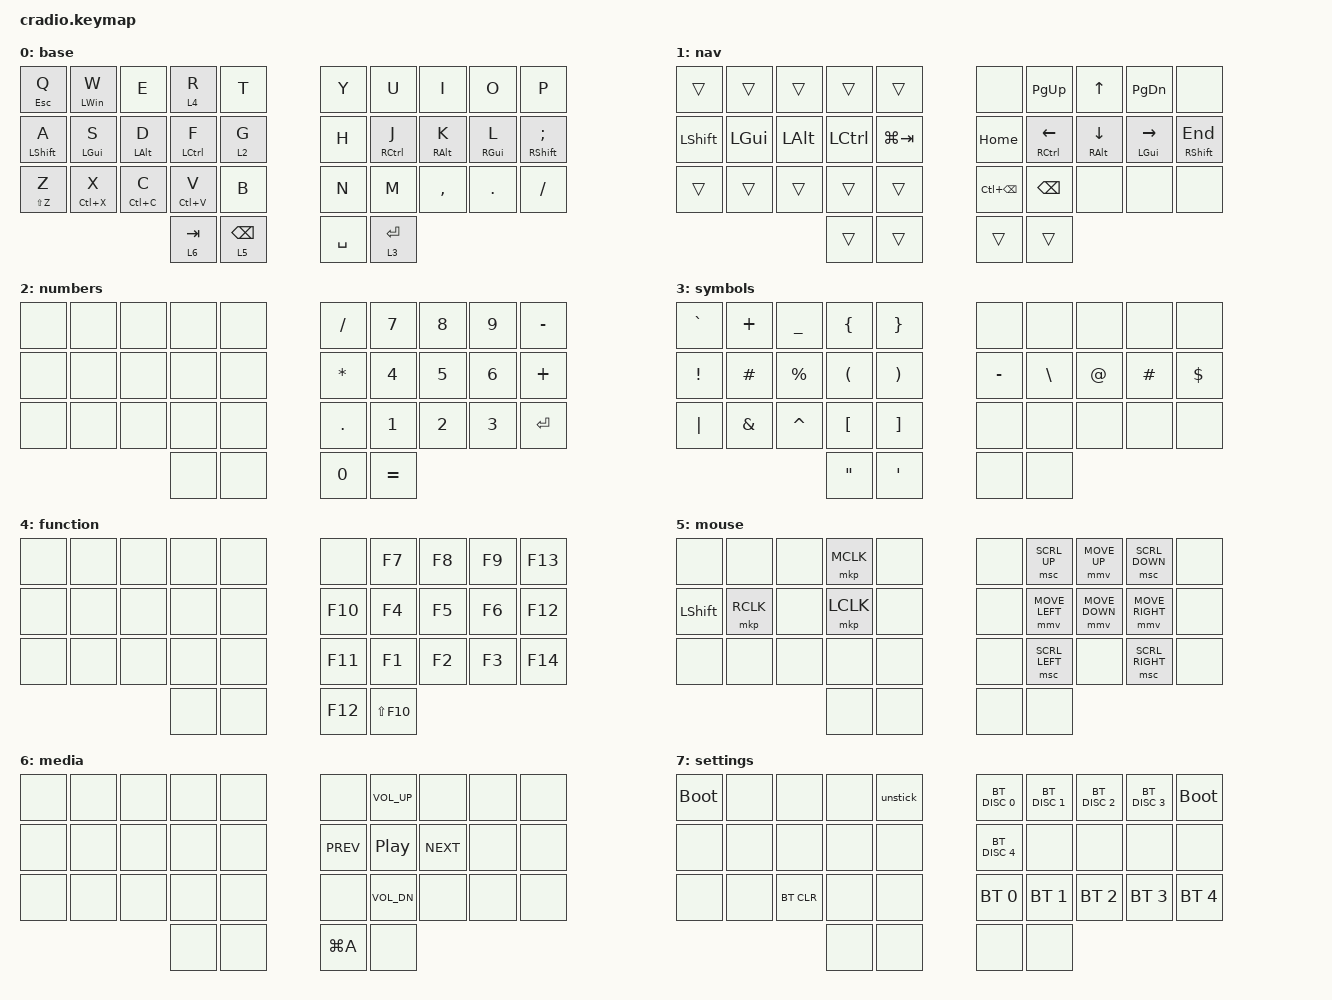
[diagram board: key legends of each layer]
/*
 * Copyright (c) 2020 The ZMK Contributors
 *
 * SPDX-License-Identifier: MIT
 */

#define ZMK_POINTING_DEFAULT_MOVE_VAL 1800  // default: 600
#define ZMK_POINTING_DEFAULT_SCRL_VAL 35    // default: 10

#include <behaviors.dtsi>
#include <dt-bindings/zmk/bt.h>
#include <dt-bindings/zmk/keys.h>
#include <dt-bindings/zmk/pointing.h>

// -----------------

&mt {
    //  flavor = "tap-preferred";
    // tapping_term_ms = <200>;
};

&lt { require-prior-idle-ms = <120>; };

/ {
    macros {
        // sometimes my device thinks a modifier is being held down
        // pressing all modifiers fixes it.

        unstick: unstick {
            label = "ZM_unstick";
            compatible = "zmk,behavior-macro";
            #binding-cells = <0>;
            bindings = <&kp LSHIFT &kp RSHIFT &kp LCTRL &kp RCTRL &kp LALT &kp RALT &kp LGUI &kp RGUI>;
        };

        alt_tab: alt_tab {
            compatible = "zmk,behavior-macro";
            #binding-cells = <0>;
            bindings = <&kp LEFT_ALT &kp TAB>;
            label = "ALT_TAB";
        };

        win_tab: win_tab {
            compatible = "zmk,behavior-macro";
            #binding-cells = <0>;
            bindings = <&kp LGUI &kp TAB>;
            label = "WIN_TAB";
        };
    };

    combos {
        compatible = "zmk,combos";

        // both right thumb keys
        // internal-left & external-right thumb keys

        escape {
            timeout-ms = <200>;
            key-positions = <33 30>;
            bindings = <&kp ESCAPE>;
        };

        // both left thumb keys

        combo_settings {
            timeout-ms = <300>;
            key-positions = <30 31>;
            bindings = <&mo 7>;
        };

        homeLayer {
            bindings = <&to 0>;
            key-positions = <16 13>;
            timeout-ms = <200>;
        };

        navLayer {
            bindings = <&to 1>;
            key-positions = <31 32>;
            timeout-ms = <200>;
        };

        quick_del {
            bindings = <&kp DEL>;
            key-positions = <13 31>;
        };
    };

    behaviors {
        longPress: longPress {
            compatible = "zmk,behavior-hold-tap";
            label = "LONGPRESS";
            bindings = <&kp>, <&kp>;

            #binding-cells = <2>;
            flavor = "tap-preferred";
            tapping-term-ms = <360>;
        };

        HMR: HMR {
            compatible = "zmk,behavior-hold-tap";
            label = "HMR";
            bindings = <&kp>, <&kp>;

            #binding-cells = <2>;
            flavor = "tap-preferred";
            tapping-term-ms = <180>;
            hold-trigger-key-positions = <0 1 2 11 12 0 1 2 3 4 10 11 12 13 14 20 21 22 23 24 30 31>;
            require-prior-idle-ms = <120>;
        };

        HML: HML {
            compatible = "zmk,behavior-hold-tap";
            label = "HML";
            bindings = <&kp>, <&kp>;

            #binding-cells = <2>;
            flavor = "tap-preferred";
            tapping-term-ms = <180>;
            hold-trigger-key-positions = <5 6 7 8 9 15 16 17 18 19 25 26 27 28 29 32 33>;
            require-prior-idle-ms = <120>;
        };
    };

    keymap {
        compatible = "zmk,keymap";

        // Base alpha layer

        base {
            bindings = <
&longPress ESCAPE Q  &longPress LEFT_WIN W  &kp E               &lt 4 R             &kp T              &kp Y      &kp U         &kp I             &kp O             &kp P
&HML LSHFT A         &HML LEFT_GUI S        &HML LEFT_ALT D     &HML LCTRL F        &lt 2 G            &kp H      &HMR RCTRL J  &HMR RIGHT_ALT K  &HMR RIGHT_GUI L  &HMR RIGHT_SHIFT SEMI
&longPress LS(Z) Z   &longPress LC(X) X     &longPress LC(C) C  &longPress LC(V) V  &kp B              &kp N      &kp M         &kp COMMA         &kp DOT           &kp SLASH
                                                                &lt 6 TAB           &lt 5 BACKSPACE    &kp SPACE  &lt 3 ENTER
            >;
        };

        nav {
            bindings = <
&trans     &trans    &trans    &trans     &trans         &none         &kp PG_UP              &kp UP_ARROW               &kp PG_DN        &none
&kp LSHFT  &kp LGUI  &kp LALT  &kp LCTRL  &kp LG(TAB)    &kp HOME      &HMR RCTRL LEFT_ARROW  &HMR RIGHT_ALT DOWN_ARROW  &HMR LGUI RIGHT  &HMR RIGHT_SHIFT END
&trans     &trans    &trans    &trans     &trans         &kp LC(BSPC)  &kp BSPC               &none                      &none            &none
                               &trans     &trans         &trans        &trans
            >;
        };

        numbers {
            bindings = <
&none  &none  &none  &none  &none    &kp SLASH     &kp NUMBER_7  &kp NUMBER_8  &kp NUMBER_9  &kp MINUS
&none  &none  &none  &none  &none    &kp ASTERISK  &kp NUMBER_4  &kp NUMBER_5  &kp NUMBER_6  &kp PLUS
&none  &none  &none  &none  &none    &kp PERIOD    &kp NUMBER_1  &kp NUMBER_2  &kp NUMBER_3  &kp ENTER
                     &none  &none    &kp NUMBER_0  &kp EQUAL
            >;
        };

        symbols {
            bindings = <
&kp GRAVE  &kp PLUS       &kp UNDER    &kp LBRC              &kp RIGHT_BRACE          &none      &none          &none        &none     &none
&kp EXCL   &kp POUND      &kp PERCENT  &kp LEFT_PARENTHESIS  &kp RIGHT_PARENTHESIS    &kp MINUS  &kp BACKSLASH  &kp AT_SIGN  &kp HASH  &kp DOLLAR
&kp PIPE   &kp AMPERSAND  &kp CARET    &kp LEFT_BRACKET      &kp RIGHT_BRACKET        &none      &none          &none        &none     &none
                                       &kp DOUBLE_QUOTES     &kp SINGLE_QUOTE         &none      &none
            >;
        };

        function {
            bindings = <
&none  &none  &none  &none  &none    &none    &kp F7       &kp F8  &kp F9  &kp F13
&none  &none  &none  &none  &none    &kp F10  &kp F4       &kp F5  &kp F6  &kp F12
&none  &none  &none  &none  &none    &kp F11  &kp F1       &kp F2  &kp F3  &kp F14
                     &none  &none    &kp F12  &kp LS(F10)
            >;
        };

        mouse {
            bindings = <
&none           &none      &none  &mkp MCLK  &none    &none  &msc SCRL_UP    &mmv MOVE_UP    &msc SCRL_DOWN   &none
&kp LEFT_SHIFT  &mkp RCLK  &none  &mkp LCLK  &none    &none  &mmv MOVE_LEFT  &mmv MOVE_DOWN  &mmv MOVE_RIGHT  &none
&none           &none      &none  &none      &none    &none  &msc SCRL_LEFT  &none           &msc SCRL_RIGHT  &none
                                  &none      &none    &none  &none
            >;
        };

        media {
            bindings = <
&none  &none  &none  &none  &none    &none       &kp C_VOLUME_UP   &none       &none  &none
&none  &none  &none  &none  &none    &kp C_PREV  &kp C_PLAY_PAUSE  &kp C_NEXT  &none  &none
&none  &none  &none  &none  &none    &none       &kp C_VOL_DN      &none       &none  &none
                     &none  &none    &kp LG(A)   &none
            >;
        };

        settings {
            bindings = <
&bootloader  &none  &none       &none  &unstick    &bt BT_DISC 0  &bt BT_DISC 1  &bt BT_DISC 2  &bt BT_DISC 3  &bootloader
&none        &none  &none       &none  &none       &bt BT_DISC 4  &none          &none          &none          &none
&none        &none  &bt BT_CLR  &none  &none       &bt BT_SEL 0   &bt BT_SEL 1   &bt BT_SEL 2   &bt BT_SEL 3   &bt BT_SEL 4
                                &none  &none       &none          &none
            >;
        };
    };
};
